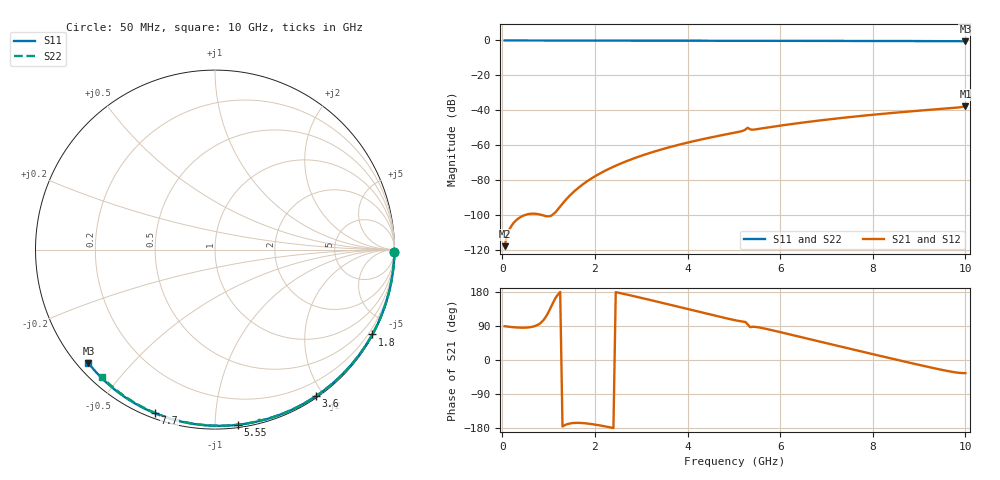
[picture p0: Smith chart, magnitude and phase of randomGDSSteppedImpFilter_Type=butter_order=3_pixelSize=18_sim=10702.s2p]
! freq	dB(S11)	phase(S11)	dB(S12)	phase(S12)
!  dB(S21)	phase(S21)	dB(S22)	phase(S22)
!S-par simulation data
#  GHz  S  DB  R 50
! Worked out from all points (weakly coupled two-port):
!   200 points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, 50 MHz to 10 GHz, reference 50 ohm
!   highest |S21| = -37.64 dB at 10 GHz (marker M1); lowest = -117.6 dB at 50 MHz (marker M2)
!   lowest |S11| = -0.5 dB at 10 GHz (marker M3), VSWR 37.06, Z = 1.55 - j19.1 ohm
!   |S11| at or under -10 dB: nowhere
!   |S22| runs from -0.5 to 0.0 dB; largest |S21 - S12| = 0
!   S11 on the Smith chart (normalised r, x): 50 MHz: open; 1.8 GHz: 0.03, -3.96; 3.6 GHz: 0.02, -1.91; 5.55 GHz: 0.02, -1.14; 7.7 GHz: 0.02, -0.70; 10 GHz: 0.03, -0.38
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0.05  -0.00 -0.8  -117.62 89.2  -117.62 89.2  -0.00 -0.8
0.9  -0.02 -14.3  -100.17 106.7  -100.17 106.7  -0.02 -13.6
1.75  -0.04 -27.6  -82.05 -166.5  -82.05 -166.5  -0.03 -26.2
1.8  -0.04 -28.3  -81.10 -167.1  -81.10 -167.1  -0.03 -26.9
1.85  -0.04 -29.1  -80.19 -167.8  -80.19 -167.8  -0.04 -27.6
2.25  -0.05 -35.2  -74.09 -175.9  -74.09 -175.9  -0.04 -33.5
2.65  -0.05 -41.3  -69.36 173.8  -69.36 173.8  -0.05 -39.2
3  -0.06 -46.5  -65.94 164.0  -65.94 164.0  -0.06 -44.2
3.4  -0.07 -52.4  -62.60 152.4  -62.60 152.4  -0.07 -49.9
3.6  -0.07 -55.3  -61.11 146.5  -61.11 146.5  -0.07 -52.6
4.25  -0.09 -64.7  -56.88 127.2  -56.88 127.2  -0.09 -61.5
5.05  -0.12 -75.8  -52.58 104.3  -52.58 104.3  -0.11 -72.2
5.2  -0.12 -77.8  -51.61 101.4  -51.61 101.4  -0.12 -74.2
5.3  -0.13 -79.2  -49.92 94.0  -49.92 94.0  -0.18 -75.5
5.35  -0.13 -79.9  -50.77 86.7  -50.77 86.7  -0.15 -75.8
5.4  -0.13 -80.5  -51.04 87.6  -51.04 87.6  -0.13 -76.5
5.55  -0.14 -82.6  -50.52 85.8  -50.52 85.8  -0.13 -78.5
6.7  -0.19 -97.6  -46.24 53.2  -46.24 53.2  -0.18 -93.0
7.7  -0.25 -110.2  -43.27 24.1  -43.27 24.1  -0.24 -105.0
8.35  -0.30 -118.2  -41.61 5.4  -41.61 5.4  -0.29 -112.6
9.75  -0.44 -135.1  -38.57 -32.0  -38.57 -32.0  -0.42 -128.6
10  -0.47 -138.1  -37.64 -34.6  -37.64 -34.6  -0.48 -131.5
